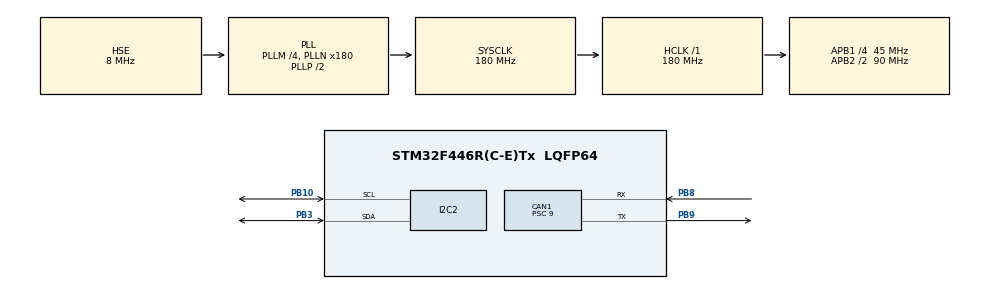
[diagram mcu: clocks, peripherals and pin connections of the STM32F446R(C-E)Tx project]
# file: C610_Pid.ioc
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CAN1.ABOM=ENABLE
CAN1.AWUM=ENABLE
CAN1.BS1=CAN_BS1_2TQ
CAN1.BS2=CAN_BS2_2TQ
CAN1.CalculateBaudRate=1000000
CAN1.CalculateTimeBit=1000
CAN1.CalculateTimeQuantum=200.0
CAN1.NART=ENABLE
CAN1.Prescaler=9
CAN1.SJW=CAN_SJW_2TQ
CAN1.TXFP=ENABLE
Dma.I2C2_TX.0.Direction=DMA_MEMORY_TO_PERIPH
Dma.I2C2_TX.0.FIFOMode=DMA_FIFOMODE_DISABLE
Dma.I2C2_TX.0.Instance=DMA1_Stream7
Dma.I2C2_TX.0.MemDataAlignment=DMA_MDATAALIGN_BYTE
Dma.I2C2_TX.0.MemInc=DMA_MINC_ENABLE
Dma.I2C2_TX.0.Mode=DMA_NORMAL
Dma.I2C2_TX.0.PeriphDataAlignment=DMA_PDATAALIGN_BYTE
Dma.I2C2_TX.0.PeriphInc=DMA_PINC_DISABLE
Dma.I2C2_TX.0.Priority=DMA_PRIORITY_LOW
Dma.Request0=I2C2_TX
I2C2.I2C_Mode=I2C_Fast
Mcu.Family=STM32F4
Mcu.Name=STM32F446R(C-E)Tx
Mcu.Package=LQFP64
NVIC.CAN1_RX0_IRQn=true\:0\:0\:false\:false\:true\:true\:true\:true
NVIC.DMA1_Stream7_IRQn=true\:0\:0\:false\:false\:true\:false\:true\:true
NVIC.I2C2_EV_IRQn=true\:0\:0\:false\:false\:true\:true\:true\:true
NVIC.PriorityGroup=NVIC_PRIORITYGROUP_4
NVIC.TIM6_DAC_IRQn=true\:0\:0\:false\:false\:true\:true\:true\:true
PA13.Mode=Serial_Wire
PA13.Signal=SYS_JTMS-SWDIO
PA14.Mode=Serial_Wire
PA14.Signal=SYS_JTCK-SWCLK
PB10.Mode=I2C
PB10.Signal=I2C2_SCL
PB3.Mode=I2C
PB3.Signal=I2C2_SDA
PB8.Mode=CAN_Activate
PB8.Signal=CAN1_RX
PB9.Mode=CAN_Activate
PB9.Signal=CAN1_TX
PH0-OSC_IN.Mode=HSE-External-Clock-Source
PH0-OSC_IN.Signal=RCC_OSC_IN
PH1-OSC_OUT.Mode=HSE-External-Clock-Source
PH1-OSC_OUT.Signal=RCC_OSC_OUT
ProjectManager.HeapSize=0x200
ProjectManager.StackSize=0x400
ProjectManager.TargetToolchain=CMake
RCC.AHBFreq_Value=180000000
RCC.APB1CLKDivider=RCC_HCLK_DIV4
RCC.APB1Freq_Value=45000000
RCC.APB1TimFreq_Value=90000000
RCC.APB2CLKDivider=RCC_HCLK_DIV2
RCC.APB2Freq_Value=90000000
RCC.APB2TimFreq_Value=180000000
RCC.CortexFreq_Value=180000000
RCC.HCLKFreq_Value=180000000
RCC.HSE_VALUE=8000000
RCC.PLLM=4
RCC.PLLN=180
RCC.PLLSourceVirtual=RCC_PLLSOURCE_HSE
RCC.SYSCLKFreq_VALUE=180000000
RCC.SYSCLKSource=RCC_SYSCLKSOURCE_PLLCLK
RCC.USBFreq_Value=180000000
RCC.VCOOutputFreq_Value=360000000
TIM6.AutoReloadPreload=TIM_AUTORELOAD_PRELOAD_ENABLE
TIM6.Period=1999
TIM6.Prescaler=8999
VP_TIM6_VS_ClockSourceINT.Mode=Enable_Timer
board=custom

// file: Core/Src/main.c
/* USER CODE BEGIN Header */
/**
 ******************************************************************************
 * @file           : main.c
 * @brief          : Main program body
 ******************************************************************************
 * @attention
 *
 * Copyright (c) 2024 STMicroelectronics.
 * All rights reserved.
 *
 * This software is licensed under terms that can be found in the LICENSE file
 * in the root directory of this software component.
 * If no LICENSE file comes with this software, it is provided AS-IS.
 *
 ******************************************************************************
 */
/* USER CODE END Header */
#include "main.h"
#include "can.h"
#include "gpio.h"
#include "i2c.h"
#include "tim.h"

/* USER CODE BEGIN Includes */

#include "PID.h"
#include "PIDInit.h"
#include "fonts.h"
#include "motor.h"
#include "ssd1306.h"
#include "strings.h"

/* USER CODE END Includes */

/* USER CODE BEGIN PV */

// 电机信息
motor_info_t motor_info[MOTOR_MAX_NUM] = {0};

// PID 控制器
PIDController pid0 = {0};
PIDController pid1 = {0};

int16_t motor0_speed = -50;
int16_t motor1_speed = 50;
int8_t motor0_step = -10;

/* USER CODE END PV */

void SystemClock_Config(void);
/* USER CODE BEGIN PFP */

// CAN 接收回调函数
void HAL_CAN_RxFifo0MsgPendingCallback(CAN_HandleTypeDef *hcan) {
  CAN_RxHeaderTypeDef rx_header = {0};
  uint8_t rx_data[8];

  HAL_CAN_GetRxMessage(hcan, CAN_RX_FIFO0, &rx_header, rx_data); // 接收数据

  int8_t result =
      parse_motor_feedback(rx_header, rx_data, motor_info); // 解析电机反馈数据

  if (result != -1) {
    // 获取电机的转速
    float current_speed = (float)motor_info[result].rotor_speed;

    // 使用 PID 控制器计算新的控制输出
    PIDController_Update(result ? &pid1 : &pid0,
                         result ? motor1_speed : motor0_speed, current_speed);

    set_motor_current(0, (int16_t)pid0.out, (int16_t)pid1.out, 0,
                      0); // 设置电机电压
  }
}

// 定时器中断回调函数
void HAL_TIM_PeriodElapsedCallback(TIM_HandleTypeDef *htim) {
  if (htim->Instance == TIM6) {
    char buffer[10] = {0};

    ssd1306_Fill(Black);

    // 数据标签
    ssd1306_SetCursor(0, 5);
    ssd1306_WriteString("PID 0:", Font_7x10, White);

    ssd1306_SetCursor(0, 15);
    ssd1306_WriteString("Speed 0:", Font_7x10, White);

    ssd1306_SetCursor(0, 30);
    ssd1306_WriteString("PID 1:", Font_7x10, White);

    ssd1306_SetCursor(0, 40);
    ssd1306_WriteString("Speed 1:", Font_7x10, White);

    // 电机 1 的 PID 输出和转速
    ssd1306_SetCursor(60, 5);
    int16ToString((int16_t)pid0.out, buffer, 0);
    ssd1306_WriteString(buffer, Font_7x10, White);

    ssd1306_SetCursor(60, 15);
    int16ToString(motor_info[0].rotor_speed, buffer, 0);
    ssd1306_WriteString(buffer, Font_7x10, White);

    // 电机 2 的 PID 输出和转速
    ssd1306_SetCursor(60, 30);
    int16ToString((int16_t)pid1.out, buffer, 0);
    ssd1306_WriteString(buffer, Font_7x10, White);

    ssd1306_SetCursor(60, 40);
    int16ToString(motor_info[1].rotor_speed, buffer, 0);
    ssd1306_WriteString(buffer, Font_7x10, White);

    ssd1306_UpdateScreen(&hi2c2);
  }
}

/* USER CODE END PFP */

int main(void) {

  /* MCU Configuration--------------------------------------------------------*/

  /* Reset of all peripherals, Initializes the Flash interface and the Systick.
   */
  HAL_Init();

  /* Configure the system clock */
  SystemClock_Config();

  /* Initialize all configured peripherals */
  MX_GPIO_Init();
  MX_CAN1_Init();
  MX_I2C2_Init();
  MX_TIM6_Init();
  /* USER CODE BEGIN 2 */

  // 初始化 OLED 显示屏
  if (ssd1306_Init(&hi2c2) != 0) {
    Error_Handler();
  }

  LC_PID_Init(&pid0); // 初始化 PID 控制器
  LC_PID_Init(&pid1); // 初始化 PID 控制器

  // 展示 Hello 字样
  ssd1306_SetCursor(36, 22);
  ssd1306_WriteString("Hello", Font_11x18, White);
  ssd1306_UpdateScreen(&hi2c2);

  LC_CAN1_Config(); // 配置 CAN1

  HAL_TIM_Base_Start_IT(&htim6); // 启动定时器 6 中断

  /* USER CODE END 2 */

  /* Infinite loop */
  while (1) {

    /* USER CODE BEGIN 3 */

    // 每 20ms 给电机 0 speed - 10，电机 1 speed + 10，到 -3000/3000 后保持
    // 5s，随后反向加减，直到 3000/-3000
    if (motor0_speed == 3000 || motor0_speed == -3000) {
      motor0_step = -motor0_step;
      HAL_Delay(5000);
    }
    if (motor0_speed == 0) {
      HAL_Delay(3000);
    }
    motor0_speed += motor0_step;
    motor1_speed = -motor0_speed;
    HAL_Delay(20);
  }
  /* USER CODE END 3 */
}

void SystemClock_Config(void) {
  RCC_OscInitTypeDef RCC_OscInitStruct = {0};
  RCC_ClkInitTypeDef RCC_ClkInitStruct = {0};

  /** Configure the main internal regulator output voltage
   */
  __HAL_RCC_PWR_CLK_ENABLE();
  __HAL_PWR_VOLTAGESCALING_CONFIG(PWR_REGULATOR_VOLTAGE_SCALE1);

  /** Initializes the RCC Oscillators according to the specified parameters
   * in the RCC_OscInitTypeDef structure.
   */
  RCC_OscInitStruct.OscillatorType = RCC_OSCILLATORTYPE_HSE;
  RCC_OscInitStruct.HSEState = RCC_HSE_BYPASS;
  RCC_OscInitStruct.PLL.PLLState = RCC_PLL_ON;
  RCC_OscInitStruct.PLL.PLLSource = RCC_PLLSOURCE_HSE;
  RCC_OscInitStruct.PLL.PLLM = 4;
  RCC_OscInitStruct.PLL.PLLN = 180;
  RCC_OscInitStruct.PLL.PLLP = RCC_PLLP_DIV2;
  RCC_OscInitStruct.PLL.PLLQ = 2;
  RCC_OscInitStruct.PLL.PLLR = 2;
  if (HAL_RCC_OscConfig(&RCC_OscInitStruct) != HAL_OK) {
    Error_Handler();
  }

  /** Activate the Over-Drive mode
   */
  if (HAL_PWREx_EnableOverDrive() != HAL_OK) {
    Error_Handler();
  }

  /** Initializes the CPU, AHB and APB buses clocks
   */
  RCC_ClkInitStruct.ClockType = RCC_CLOCKTYPE_HCLK | RCC_CLOCKTYPE_SYSCLK |
                                RCC_CLOCKTYPE_PCLK1 | RCC_CLOCKTYPE_PCLK2;
  RCC_ClkInitStruct.SYSCLKSource = RCC_SYSCLKSOURCE_PLLCLK;
  RCC_ClkInitStruct.AHBCLKDivider = RCC_SYSCLK_DIV1;
  RCC_ClkInitStruct.APB1CLKDivider = RCC_HCLK_DIV4;
  RCC_ClkInitStruct.APB2CLKDivider = RCC_HCLK_DIV2;

  if (HAL_RCC_ClockConfig(&RCC_ClkInitStruct, FLASH_LATENCY_5) != HAL_OK) {
    Error_Handler();
  }
}

void Error_Handler(void) {
  __disable_irq();
  while (1) {
  }
}

#ifdef USE_FULL_ASSERT
/**
 * @brief  Reports the name of the source file and the source line number
 *         where the assert_param error has occurred.
 * @param  file: pointer to the source file name
 * @param  line: assert_param error line source number
 * @retval None
 */
void assert_failed(uint8_t *file, uint32_t line) {
  /* USER CODE BEGIN 6 */
  /* User can add his own implementation to report the file name and line
           number, ex: printf("Wrong parameters value: file %s on line %d\r\n",
     file, line) */
  /* USER CODE END 6 */
}
#endif /* USE_FULL_ASSERT */
